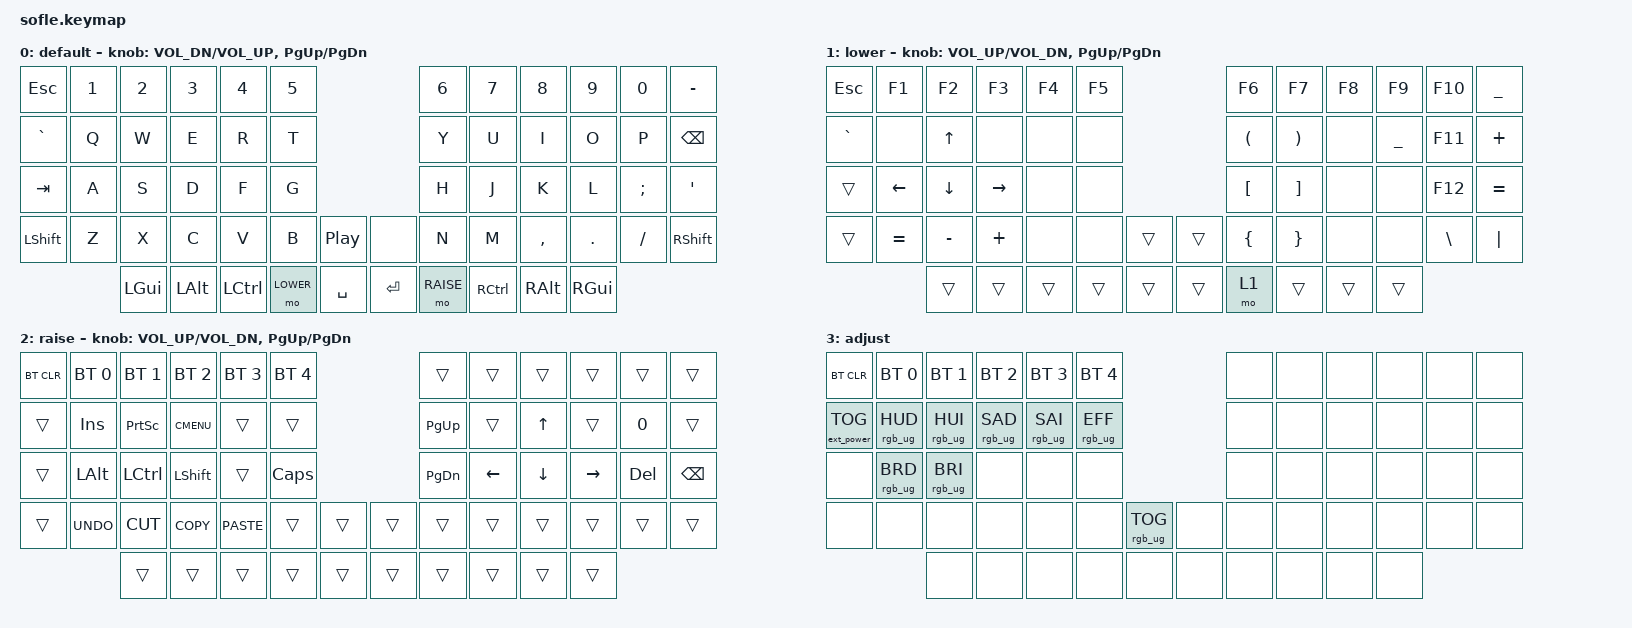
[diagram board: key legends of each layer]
/*
 * Copyright (c) 2020 The ZMK Contributors
 *
 * SPDX-License-Identifier: MIT
 */

#include <behaviors.dtsi>
#include <dt-bindings/zmk/bt.h>
#include <dt-bindings/zmk/ext_power.h>
#include <dt-bindings/zmk/keys.h>
#include <dt-bindings/zmk/rgb.h>

#define BASE 0
#define LOWER 1
#define RAISE 2
#define ADJUST 3

/ {
    // Activate ADJUST layer by pressing raise and lower

    conditional_layers {
        compatible = "zmk,conditional-layers";

        adjust_layer {
            if-layers = <LOWER RAISE>;
            then-layer = <ADJUST>;
        };
    };

    keymap {
        compatible = "zmk,keymap";

        default_layer {
            display-name = "default";

            // ------------------------------------------------------------------------------------------------------------
            // |   `   |  1  |  2  |  3   |  4   |  5   |                   |  6   |  7    |  8    |  9   |   0   |       |
            // |  ESC  |  Q  |  W  |  E   |  R   |  T   |                   |  Y   |  U    |  I    |  O   |   P   | BKSPC |
            // |  TAB  |  A  |  S  |  D   |  F   |  G   |                   |  H   |  J    |  K    |  L   |   ;   |   '   |
            // | SHIFT |  Z  |  X  |  C   |  V   |  B   | PLAY/P |  |       |  N   |  M    |  ,    |  .   |   /   | SHIFT |
            //               | GUI | ALT  | CTRL | LOWER|  ENTER |  | SPACE | RAISE| CTRL  | ALT   | GUI  |

            bindings = <
&kp ESCAPE  &kp N1  &kp N2    &kp N3    &kp N4     &kp N5                               &kp N6     &kp N7     &kp N8     &kp N9    &kp N0    &kp MINUS
&kp GRAVE   &kp Q   &kp W     &kp E     &kp R      &kp T                                &kp Y      &kp U      &kp I      &kp O     &kp P     &kp BSPC
&kp TAB     &kp A   &kp S     &kp D     &kp F      &kp G                                &kp H      &kp J      &kp K      &kp L     &kp SEMI  &kp SQT
&kp LSHFT   &kp Z   &kp X     &kp C     &kp V      &kp B      &kp C_PP    &none       &kp N      &kp M      &kp COMMA  &kp DOT   &kp FSLH  &kp RSHFT
                    &kp LGUI  &kp LALT  &kp LCTRL  &mo LOWER  &kp SPACE     &kp RETURN  &mo RAISE  &kp RCTRL  &kp RALT   &kp RGUI
            >;

            sensor-bindings =
                <&inc_dec_kp C_VOL_DN C_VOLUME_UP>, 
                <&inc_dec_kp PG_UP PG_DN>; 
        };

        lower_layer {
            display-name = "lower";

            // TODO: Some binds are waiting for shifted keycode support.
            // ------------------------------------------------------------------------------------------------------------
            // |       |  F1 |  F2 |  F3  |  F4  |  F5  |                   |  F6  |  F7   |  F8   |  F9  |  F10  |  F11  |
            // |   `   |  1  |  2  |  3   |  4   |  5   |                   |  6   |  7    |  8    |  9   |   0   |  F12  |
            // |       |  !  |  @  |  #   |  $   |  %   |                   |  ^   |  &    |  *    |  (   |   )   |   |   |
            // |       |  =  |  -  |  +   |  {   |  }   |        |  |       |  [   |  ]    |  ;    |  :   |   \   |       |
            //               |     |      |      |      |        |  |       |      |       |       |      |

            bindings = <
&kp ESCAPE  &kp F1          &kp F2        &kp F3     &kp F4  &kp F5                    &kp F6                &kp F7                 &kp F8  &kp F9     &kp F10   &kp UNDERSCORE
&kp GRAVE   &none           &kp UP_ARROW  &none      &none   &none                     &kp LEFT_PARENTHESIS  &kp RIGHT_PARENTHESIS  &none   &kp UNDER  &kp F11   &kp PLUS
&trans      &kp LEFT_ARROW  &kp DOWN      &kp RIGHT  &none   &none                     &kp LEFT_BRACKET      &kp RIGHT_BRACKET      &none   &none      &kp F12   &kp EQUAL
&trans      &kp EQUAL       &kp MINUS     &kp PLUS   &none   &none   &trans    &trans  &kp LEFT_BRACE        &kp RIGHT_BRACE        &none   &none      &kp BSLH  &kp PIPE
                            &trans        &trans     &trans  &trans  &trans    &trans  &mo 1                 &trans                 &trans  &trans
            >;

            sensor-bindings = <&inc_dec_kp C_VOL_UP C_VOL_DN &inc_dec_kp PG_UP PG_DN>;
        };

        raise_layer {
            display-name = "raise";

            // ------------------------------------------------------------------------------------------------------------
            // | BTCLR | BT1  | BT2  |  BT3  |  BT4  |  BT5 |                |      |      |       |      |       |       |
            // |       | INS  | PSCR | GUI   |       |      |                | PGUP |      |   ^   |      |       |       |
            // |       | ALT  | CTRL | SHIFT |       | CAPS |                | PGDN |   <- |   v   |  ->  |  DEL  | BKSPC |
            // |       | UNDO | CUT  | COPY  | PASTE |      |      |  |      |      |      |       |      |       |       |
            //                |      |       |       |      |      |  |      |      |      |       |      |

            bindings = <
&bt BT_CLR  &bt BT_SEL 0  &bt BT_SEL 1  &bt BT_SEL 2  &bt BT_SEL 3  &bt BT_SEL 4                    &trans     &trans    &trans    &trans     &trans   &trans
&trans      &kp INS       &kp PSCRN     &kp K_CMENU   &trans        &trans                          &kp PG_UP  &trans    &kp UP    &trans     &kp N0   &trans
&trans      &kp LALT      &kp LCTRL     &kp LSHFT     &trans        &kp CLCK                        &kp PG_DN  &kp LEFT  &kp DOWN  &kp RIGHT  &kp DEL  &kp BSPC
&trans      &kp K_UNDO    &kp K_CUT     &kp K_COPY    &kp K_PASTE   &trans        &trans    &trans  &trans     &trans    &trans    &trans     &trans   &trans
                          &trans        &trans        &trans        &trans        &trans    &trans  &trans     &trans    &trans    &trans
            >;

            sensor-bindings = <&inc_dec_kp C_VOL_UP C_VOL_DN &inc_dec_kp PG_UP PG_DN>;
        };

        adjust_layer {
            // ----------------------------------------------------------------------------------------------------------------------------
            // | BTCLR  |  BT1    |  BT2    |   BT3   |   BT4   |   BT5   |                  |      |      |       |      |       |       |
            // | EXTPWR | RGB_HUD | RGB_HUI | RGB_SAD | RGB_SAI | RGB_EFF |                  |      |      |       |      |       |       |
            // |        | RGB_BRD | RGB_BRI |         |         |         |                  |      |      |       |      |       |       |
            // |        |         |         |         |         |         | RGB_TOG | |      |      |      |       |      |       |       |
            //                    |         |         |         |         |         | |      |      |      |       |      |

            display-name = "adjust";
            bindings = <
&bt BT_CLR         &bt BT_SEL 0     &bt BT_SEL 1     &bt BT_SEL 2     &bt BT_SEL 3     &bt BT_SEL 4                               &none  &none  &none  &none  &none  &none
&ext_power EP_TOG  &rgb_ug RGB_HUD  &rgb_ug RGB_HUI  &rgb_ug RGB_SAD  &rgb_ug RGB_SAI  &rgb_ug RGB_EFF                            &none  &none  &none  &none  &none  &none
&none              &rgb_ug RGB_BRD  &rgb_ug RGB_BRI  &none            &none            &none                                      &none  &none  &none  &none  &none  &none
&none              &none            &none            &none            &none            &none            &rgb_ug RGB_TOG    &none  &none  &none  &none  &none  &none  &none
                                    &none            &none            &none            &none            &none              &none  &none  &none  &none  &none
            >;
        };
    };
};
